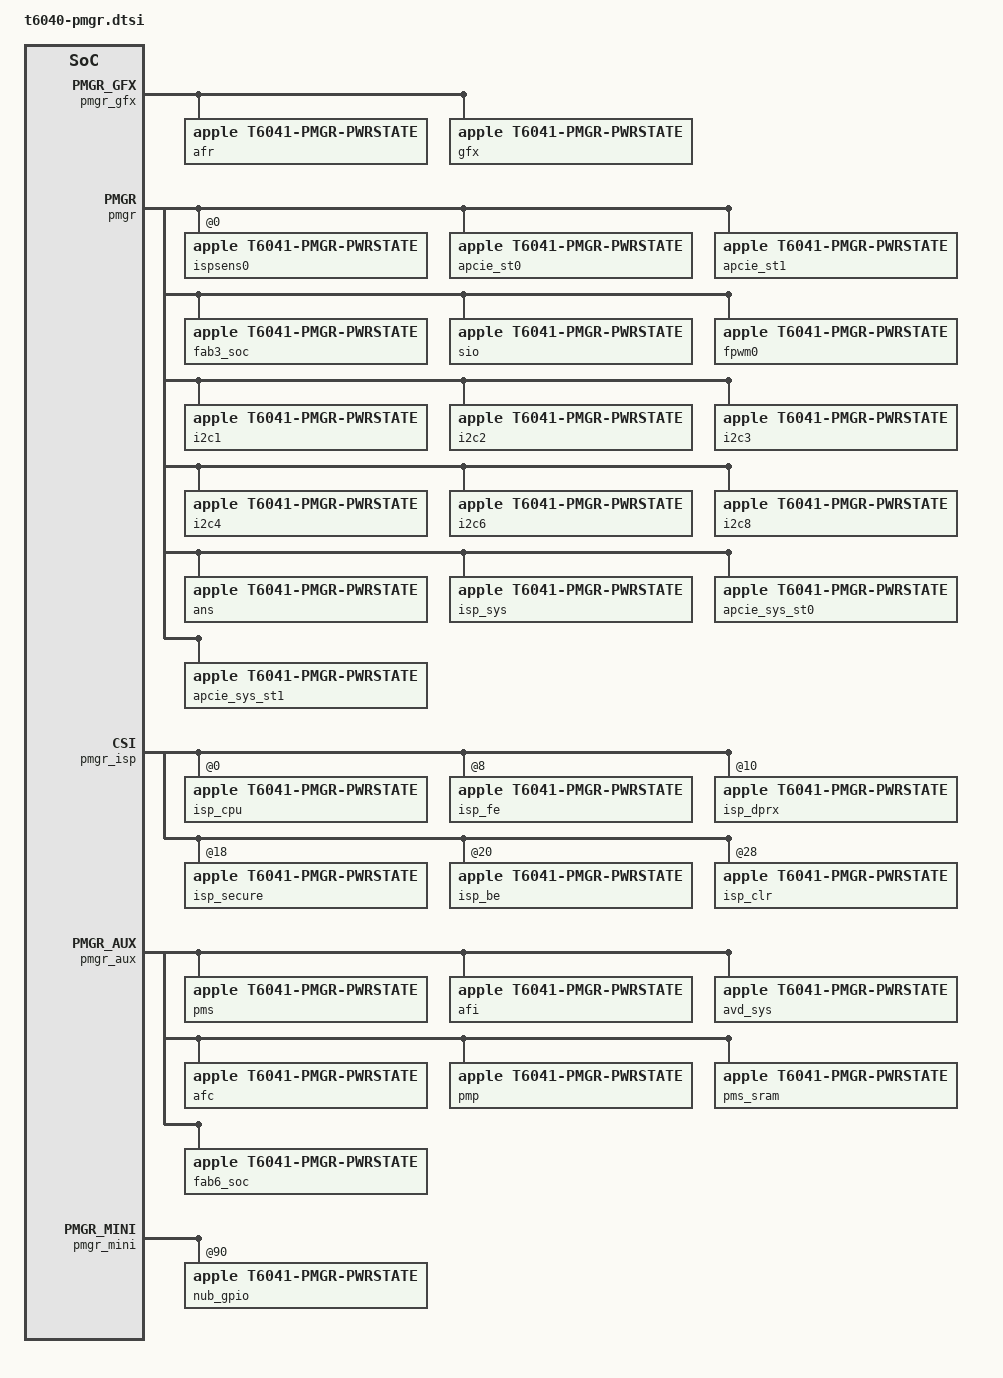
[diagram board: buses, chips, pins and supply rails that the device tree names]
// SPDX-License-Identifier: GPL-2.0+ OR MIT
/*
 * PMGR power domains for the Apple T6040 "M4 Pro" SoC
 *
 * From the J616s ADT /arm-io/pmgr devices and their parents.
 *
 * Copyright The Asahi Linux Contributors
 */

&pmgr_gfx {
	ps_afr: power-controller@100 {
		compatible = "apple,t6041-pmgr-pwrstate", "apple,t8103-pmgr-pwrstate";
		reg = <0x100 4>;
		#power-domain-cells = <0>;
		#reset-cells = <0>;
		label = "afr";
		apple,always-on;
	};

	/* The GPU firmware keeps running and does not survive this domain going off. */
	ps_gfx: power-controller@110 {
		compatible = "apple,t6041-pmgr-pwrstate", "apple,t8103-pmgr-pwrstate";
		reg = <0x110 4>;
		#power-domain-cells = <0>;
		#reset-cells = <0>;
		label = "gfx";
		power-domains = <&ps_afr>;
		apple,always-on;
	};
};

&pmgr {
	ps_ispsens0: power-controller@0 {
		compatible = "apple,t6041-pmgr-pwrstate", "apple,t8103-pmgr-pwrstate";
		reg = <0x0 4>;
		#power-domain-cells = <0>;
		#reset-cells = <0>;
		label = "ispsens0";
	};

	ps_apcie_st0: power-controller@108 {
		compatible = "apple,t6041-pmgr-pwrstate", "apple,t8103-pmgr-pwrstate";
		reg = <0x108 4>;
		#power-domain-cells = <0>;
		#reset-cells = <0>;
		label = "apcie_st0";
		apple,always-on;
	};

	ps_apcie_st1: power-controller@110 {
		compatible = "apple,t6041-pmgr-pwrstate", "apple,t8103-pmgr-pwrstate";
		reg = <0x110 4>;
		#power-domain-cells = <0>;
		#reset-cells = <0>;
		label = "apcie_st1";
		apple,always-on;
	};

	ps_fab3_soc: power-controller@118 {
		compatible = "apple,t6041-pmgr-pwrstate", "apple,t8103-pmgr-pwrstate";
		reg = <0x118 4>;
		#power-domain-cells = <0>;
		#reset-cells = <0>;
		label = "fab3_soc";
		power-domains = <&ps_afc>;
		apple,always-on;
	};

	ps_sio: power-controller@120 {
		compatible = "apple,t6041-pmgr-pwrstate", "apple,t8103-pmgr-pwrstate";
		reg = <0x120 4>;
		#power-domain-cells = <0>;
		#reset-cells = <0>;
		label = "sio";
		power-domains = <&ps_fab3_soc>;
		apple,always-on;
	};

	ps_fpwm0: power-controller@138 {
		compatible = "apple,t6041-pmgr-pwrstate", "apple,t8103-pmgr-pwrstate";
		reg = <0x138 4>;
		#power-domain-cells = <0>;
		#reset-cells = <0>;
		label = "fpwm0";
		power-domains = <&ps_sio>;
	};

	ps_i2c1: power-controller@158 {
		compatible = "apple,t6041-pmgr-pwrstate", "apple,t8103-pmgr-pwrstate";
		reg = <0x158 4>;
		#power-domain-cells = <0>;
		#reset-cells = <0>;
		label = "i2c1";
		power-domains = <&ps_sio>;
	};

	ps_i2c2: power-controller@160 {
		compatible = "apple,t6041-pmgr-pwrstate", "apple,t8103-pmgr-pwrstate";
		reg = <0x160 4>;
		#power-domain-cells = <0>;
		#reset-cells = <0>;
		label = "i2c2";
		power-domains = <&ps_sio>;
	};

	ps_i2c3: power-controller@168 {
		compatible = "apple,t6041-pmgr-pwrstate", "apple,t8103-pmgr-pwrstate";
		reg = <0x168 4>;
		#power-domain-cells = <0>;
		#reset-cells = <0>;
		label = "i2c3";
		power-domains = <&ps_sio>;
	};

	ps_i2c4: power-controller@170 {
		compatible = "apple,t6041-pmgr-pwrstate", "apple,t8103-pmgr-pwrstate";
		reg = <0x170 4>;
		#power-domain-cells = <0>;
		#reset-cells = <0>;
		label = "i2c4";
		power-domains = <&ps_sio>;
	};

	ps_i2c6: power-controller@180 {
		compatible = "apple,t6041-pmgr-pwrstate", "apple,t8103-pmgr-pwrstate";
		reg = <0x180 4>;
		#power-domain-cells = <0>;
		#reset-cells = <0>;
		label = "i2c6";
		power-domains = <&ps_sio>;
	};

	ps_i2c8: power-controller@190 {
		compatible = "apple,t6041-pmgr-pwrstate", "apple,t8103-pmgr-pwrstate";
		reg = <0x190 4>;
		#power-domain-cells = <0>;
		#reset-cells = <0>;
		label = "i2c8";
		power-domains = <&ps_sio>;
	};

	ps_ans: power-controller@370 {
		compatible = "apple,t6041-pmgr-pwrstate", "apple,t8103-pmgr-pwrstate";
		reg = <0x370 4>;
		#power-domain-cells = <0>;
		#reset-cells = <0>;
		label = "ans";
		power-domains = <&ps_fab3_soc>;
		apple,always-on;
	};

	ps_isp_sys: power-controller@378 {
		compatible = "apple,t6041-pmgr-pwrstate", "apple,t8103-pmgr-pwrstate";
		reg = <0x378 4>;
		#power-domain-cells = <0>;
		#reset-cells = <0>;
		label = "isp_sys";
		power-domains = <&ps_fab6_soc>;
	};

	ps_apcie_sys_st0: power-controller@380 {
		compatible = "apple,t6041-pmgr-pwrstate", "apple,t8103-pmgr-pwrstate";
		reg = <0x380 4>;
		#power-domain-cells = <0>;
		#reset-cells = <0>;
		label = "apcie_sys_st0";
		power-domains = <&ps_ans>, <&ps_apcie_st0>;
		apple,always-on;
	};

	ps_apcie_sys_st1: power-controller@388 {
		compatible = "apple,t6041-pmgr-pwrstate", "apple,t8103-pmgr-pwrstate";
		reg = <0x388 4>;
		#power-domain-cells = <0>;
		#reset-cells = <0>;
		label = "apcie_sys_st1";
		power-domains = <&ps_ans>, <&ps_apcie_st1>;
		apple,always-on;
	};
};

/*
 * The ISP's own power states at PMGR +0x4000 (ADT isp0 reg[1]). The ADT
 * gives addresses only for ISP_CPU and ISP_FE; the other slots follow
 * T8140's order (CPU, FE, DPRX, SECURE, BE, CLR) without the blocks T6040
 * lacks. With only CPU and FE on, the firmware takes an SError while it
 * loads its tunables.
 */
&pmgr_isp {
	ps_isp_cpu: power-controller@0 {
		compatible = "apple,t6041-pmgr-pwrstate", "apple,t8103-pmgr-pwrstate";
		reg = <0x0 4>;
		#power-domain-cells = <0>;
		#reset-cells = <0>;
		label = "isp_cpu";
		power-domains = <&ps_isp_sys>;
	};

	ps_isp_fe: power-controller@8 {
		compatible = "apple,t6041-pmgr-pwrstate", "apple,t8103-pmgr-pwrstate";
		reg = <0x8 4>;
		#power-domain-cells = <0>;
		#reset-cells = <0>;
		label = "isp_fe";
		power-domains = <&ps_isp_sys>;
	};

	ps_isp_dprx: power-controller@10 {
		compatible = "apple,t6041-pmgr-pwrstate", "apple,t8103-pmgr-pwrstate";
		reg = <0x10 4>;
		#power-domain-cells = <0>;
		#reset-cells = <0>;
		label = "isp_dprx";
		power-domains = <&ps_isp_fe>;
	};

	ps_isp_secure: power-controller@18 {
		compatible = "apple,t6041-pmgr-pwrstate", "apple,t8103-pmgr-pwrstate";
		reg = <0x18 4>;
		#power-domain-cells = <0>;
		#reset-cells = <0>;
		label = "isp_secure";
		power-domains = <&ps_isp_fe>;
	};

	ps_isp_be: power-controller@20 {
		compatible = "apple,t6041-pmgr-pwrstate", "apple,t8103-pmgr-pwrstate";
		reg = <0x20 4>;
		#power-domain-cells = <0>;
		#reset-cells = <0>;
		label = "isp_be";
		power-domains = <&ps_isp_fe>;
	};

	ps_isp_clr: power-controller@28 {
		compatible = "apple,t6041-pmgr-pwrstate", "apple,t8103-pmgr-pwrstate";
		reg = <0x28 4>;
		#power-domain-cells = <0>;
		#reset-cells = <0>;
		label = "isp_clr";
		power-domains = <&ps_isp_be>;
	};
};

&pmgr_aux {
	ps_pms: power-controller@100 {
		compatible = "apple,t6041-pmgr-pwrstate", "apple,t8103-pmgr-pwrstate";
		reg = <0x100 4>;
		#power-domain-cells = <0>;
		#reset-cells = <0>;
		label = "pms";
		apple,always-on;
	};

	/* fabric parent of isp_sys, on from boot */
	ps_afi: power-controller@110 {
		compatible = "apple,t6041-pmgr-pwrstate", "apple,t8103-pmgr-pwrstate";
		reg = <0x110 4>;
		#power-domain-cells = <0>;
		#reset-cells = <0>;
		label = "afi";
		apple,always-on;
	};

	ps_avd_sys: power-controller@170 {
		compatible = "apple,t6041-pmgr-pwrstate", "apple,t8103-pmgr-pwrstate";
		reg = <0x170 4>;
		#power-domain-cells = <0>;
		#reset-cells = <0>;
		label = "avd_sys";
	};

	ps_afc: power-controller@178 {
		compatible = "apple,t6041-pmgr-pwrstate", "apple,t8103-pmgr-pwrstate";
		reg = <0x178 4>;
		#power-domain-cells = <0>;
		#reset-cells = <0>;
		label = "afc";
		apple,always-on;
	};

	ps_pmp: power-controller@410 {
		compatible = "apple,t6041-pmgr-pwrstate", "apple,t8103-pmgr-pwrstate";
		reg = <0x410 4>;
		#power-domain-cells = <0>;
		#reset-cells = <0>;
		label = "pmp";
		apple,always-on;
	};

	ps_pms_sram: power-controller@418 {
		compatible = "apple,t6041-pmgr-pwrstate", "apple,t8103-pmgr-pwrstate";
		reg = <0x418 4>;
		#power-domain-cells = <0>;
		#reset-cells = <0>;
		label = "pms_sram";
		apple,always-on;
	};

	ps_fab6_soc: power-controller@480 {
		compatible = "apple,t6041-pmgr-pwrstate", "apple,t8103-pmgr-pwrstate";
		reg = <0x480 4>;
		#power-domain-cells = <0>;
		#reset-cells = <0>;
		label = "fab6_soc";
		power-domains = <&ps_afi>;
		apple,always-on;
	};
};

&pmgr_mini {
	/* ADT pmgr device NUB_GPIO (0x11a), no parent */
	ps_nub_gpio: power-controller@90 {
		compatible = "apple,t6041-pmgr-pwrstate", "apple,t8103-pmgr-pwrstate";
		reg = <0x90 4>;
		#power-domain-cells = <0>;
		#reset-cells = <0>;
		label = "nub_gpio";
		apple,always-on;
	};
};
